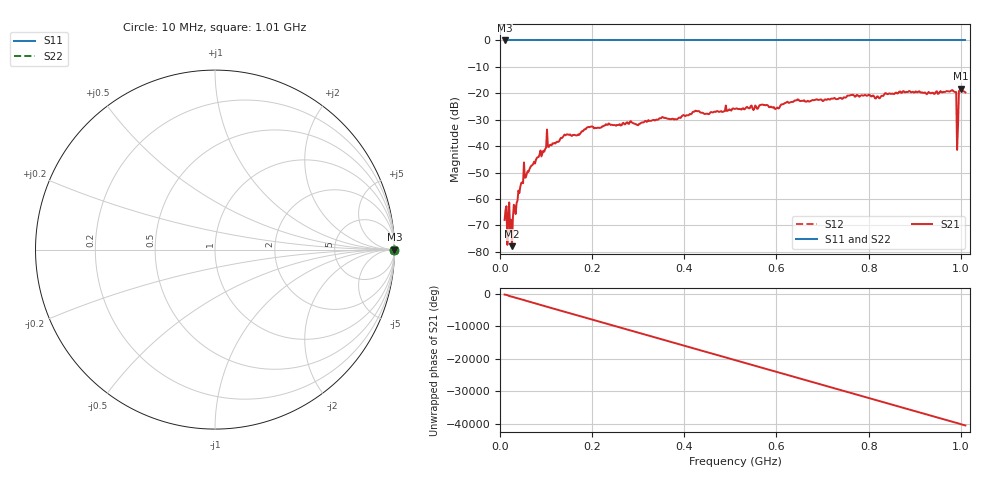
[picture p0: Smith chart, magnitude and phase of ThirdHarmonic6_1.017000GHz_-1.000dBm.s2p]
! 8/16/2025 8:28:33 AM
! C:\ANRITSUVNA\TEMP\TEMP.S2P
! CHANNEL.1
! TR.MEASUREMENT
! RAW.DATA
! RF.CORRECTION.OFF
! AVERAGING.OFF
! IF.BANDWIDTH: 5KHZ
! SWEEPTYPE:  FREQ.SWEEP(Linear)
! Reference Plane Port Info
! PORT:  PORT1  PORT2
! DISTANCE:  0  m  0  m
! TIME:  0  s  0  s
! PHASE.OFFSET:  0  deg.  0  deg.
! LOSS:  0  dB  0  dB
! REF.LOSS:  0  dB  0  dB
! REF.FREQ:  0  Hz  0  Hz
! Power Info
! POWER:  -20  dBm  -20  dBm
! EFF.POWER:  -20  dBm  -20  dBm
! SOURCE.ATTEN:  0  dB  0  dB
! TEST.ATTEN:  0  dB  0  dB
# GHZ S RI R 50.0
! FREQ.GHZ  S11RE  S11IM  S21RE  S21IM  S12RE  S12IM  S22RE  S22IM
!; PortSelection: Port_12
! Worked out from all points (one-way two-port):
!   501 points, 10 MHz to 1.01 GHz, reference 50 ohm
!   highest |S21| = -18.26 dB at 1 GHz (marker M1); lowest = -77.9 dB at 26 MHz (marker M2)
!   lowest |S11| = 0.0 dB at 10 MHz (marker M3)
!   |S11| at or under -10 dB: nowhere
!   |S22| runs from 0.0 to 0.0 dB; largest |S21 - S12| = 1.1
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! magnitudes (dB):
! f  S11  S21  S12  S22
! 10 MHz  0.0  -67.9  0.0  0.0
! 12 MHz  0.0  -64.2  0.0  0.0
! 16 MHz  0.0  -77.4  0.0  0.0
! 20 MHz  0.0  -61.3  0.0  0.0
! 26 MHz  0.0  -77.9  0.0  0.0
! 48 MHz  0.0  -53.7  0.0  0.0
! 94 MHz  0.0  -41.7  0.0  0.0
! 98 MHz  0.0  -41.1  0.0  0.0
! 178 MHz  0.0  -34.3  0.0  0.0
! 344 MHz  0.0  -29.9  0.0  0.0
! 510 MHz  0.0  -25.9  0.0  0.0
! 570 MHz  0.0  -24.2  0.0  0.0
! 600 MHz  0.0  -25.6  0.0  0.0
! 644 MHz  0.0  -22.7  0.0  0.0
! 678 MHz  0.0  -22.5  0.0  0.0
! 844 MHz  0.0  -20.1  0.0  0.0
! 984 MHz  0.0  -19.2  0.0  0.0
! 986 MHz  0.0  -19.4  0.0  0.0
! 990 MHz  0.0  -19.5  0.0  0.0
! 996 MHz  0.0  -19.1  0.0  0.0
! 1 GHz  0.0  -18.3  0.0  0.0
! 1.01 GHz  0.0  -19.7  0.0  0.0
